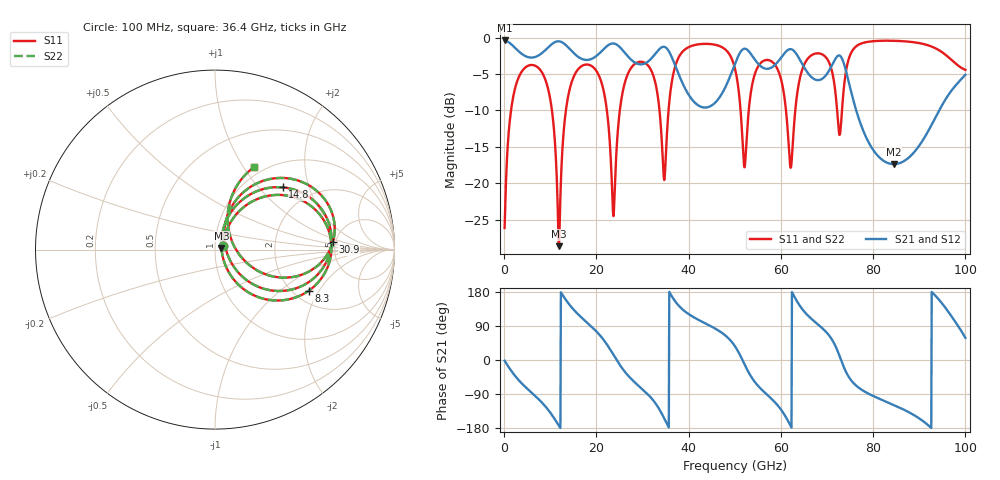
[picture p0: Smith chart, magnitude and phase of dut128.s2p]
! Touchstone file exported from HFSS 2026.1.0
!  File:  C:/ffzhzh/LocalFiles/Ansys_Project_Files/temp_train_TSV_RDL_128_1783460252_41684.aedt
!  Generated:  06:06:02 AM Jul  8, 2026
!  Design:  TSV_RDL
!  Project:  temp_train_TSV_RDL_128_1783460252_41684
! Variables:
!  h_bsmrdl = 4.9um
!  h_ox = 20um
!  h_rdl = 5um
!  h_sub = 69.95um
!  h_tmrdl = 2.32um
!  h_tsv = 69.95um
!  h_via = 3um
!  l_bsmrdl = 525.91um
!  l_sub = 4791.86um
!  l_tmrdl = 683.68um
!  m_sub = 200um
!  pitch = 53.11um
!  r_tsv = 12.94um
!  s_tmrdl = 10um
!  w_bsmrdl = 15.18um
!  w_sub = 500um
!  w_tmrdl = 11.29um
!  x_tsv_center1 = 689.325um
!  x_tsv_center2 = 1230.415um
!  x_tsv_center3 = 1925.385um
!  x_tsv_center4 = 2466.475um
!  x_tsv_center5 = 3161.445um
!  x_tsv_center6 = 3702.535um
# GHz S MA R 50.000000
! Terminal data exported
! Port[1] = TM_RDL1_1_T1
! Port[2] = TM_RDL5_1_T1
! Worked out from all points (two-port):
!   1000 points, 100 MHz to 100 GHz, reference 50 ohm
!   highest |S21| = -0.39 dB at 100 MHz (marker M1); lowest = -17.4 dB at 84.5 GHz (marker M2)
!   |S21| within 3 dB of the highest: start of sweep to 28.26 GHz; 30.96 GHz to 36.81 GHz (5.854 GHz wide, 17.3 % of centre) (the widest 2 of 5)
!   lowest |S11| = -28.6 dB at 11.9 GHz (marker M3), VSWR 1.08, Z = 53.7 + j1.05 ohm
!   |S11| at or under -10 dB: 10.36 GHz to 13.39 GHz (3.025 GHz wide, 25.5 % of centre); 22.27 GHz to 25.08 GHz (2.809 GHz wide, 11.9 % of centre); 61.1 GHz to 63.12 GHz (2.013 GHz wide, 3.24 % of centre) (the widest 3 of 7)
!   |S22| runs from -28.6 to -0.4 dB; largest |S21 - S12| = 4.8e-12
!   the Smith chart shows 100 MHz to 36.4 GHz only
!   S11 on the Smith chart (normalised r, x): 100 MHz: 1.09, +0.05; 8.3 GHz: 2.40, -1.63; 14.8 GHz: 1.45, +1.36; 30.9 GHz: 4.74, +0.69; 36.4 GHz: 0.90, +1.12
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0.1  0.04933 26.6  0.9564 -2.0  0.9564 -2.0  0.04933 26.6
! Gamma 0 0 0 0
! Port Impedance 50 0 50 0
2.6  0.4771 39.7  0.8371 -45.3  0.8371 -45.3  0.4771 39.7
8.3  0.5698 -23.8  0.7882 -113.7  0.7882 -113.7  0.5698 -23.8
11.9  0.03698 15.3  0.9434 -173.8  0.9434 -173.8  0.03706 15.3
14.8  0.5122 42.6  0.8001 136.6  0.8001 136.6  0.5122 42.6
16.8  0.6379 19.9  0.7152 111.8  0.7152 111.8  0.6379 19.9
24  0.09479 57.8  0.9081 7.8  0.9081 7.8  0.09494 57.7
30.9  0.6579 3.6  0.6752 -87.6  0.6752 -87.6  0.658 3.5
33.4  0.3779 -23.9  0.8184 -125.1  0.8184 -125.1  0.3778 -24.1
34.7  0.1052 21.8  0.865 -154.0  0.865 -154.0  0.1042 21.7
36.4  0.5081 64.7  0.728 167.1  0.728 167.1  0.5079 64.8
43.2  0.906 8.1  0.3316 99.2  0.3316 99.2  0.906 8.1
50.1  0.6013 -44.9  0.6671 35.2  0.6671 35.2  0.6015 -44.8
52.1  0.1286 -10.6  0.8396 -11.0  0.8396 -11.0  0.1298 -10.6
58.4  0.6694 -15.1  0.6367 -107.7  0.6367 -107.7  0.6694 -15.1
62.1  0.1278 0.9  0.834 -173.8  0.834 -173.8  0.1282 0.8
66.7  0.7593 14.8  0.5332 107.7  0.5332 107.7  0.7594 14.7
72.8  0.2163 12.0  0.7509 7.8  0.7509 7.8  0.2157 12.0
83.4  0.9526 -23.6  0.137 -113.0  0.137 -113.0  0.9527 -23.6
84.5  0.9512 -28.7  0.1353 -118.8  0.1353 -118.8  0.9514 -28.7
93.5  0.8458 -94.5  0.2823 169.7  0.2823 169.7  0.8464 -94.4
100  0.6008 150.8  0.5561 58.5  0.5561 58.5  0.6011 151.2
